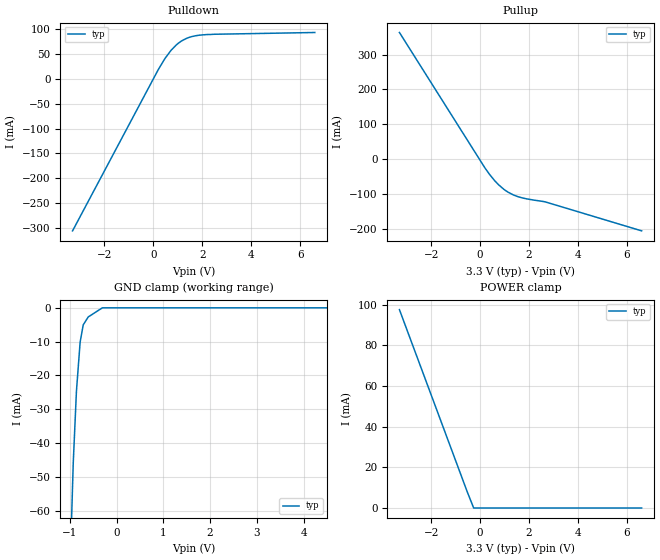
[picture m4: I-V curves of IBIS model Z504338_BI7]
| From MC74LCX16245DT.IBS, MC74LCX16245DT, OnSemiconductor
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| (C) COPYRIGHT 1993-2000
| MENTOR GRAPHICS CORPORATION
| ICX STANDARD LIBRARY, ICX PROJECT MODELING,
| ICX CUSTOM MODELING, ICX VENDOR MODEL
| ALL RIGHTS RESERVED.
| THE FOLLOWING ARE TRADEMARKS OR SERVICE MARKS OF
| MENTOR GRAPHICS CORPORATION:ICX (R), ICX STANDARD
| LIBRARY(R), ICX PROJECT MODELING(R), ICX CUSTOM
| MODELING(R), qualityIBIS(TM), MODELVIEWER(TM),
| AND MODELEDITOR(TM)
| ALL COPIES OF SOFTWARE, INCLUDING BUT NOT LIMITED TO
| ANY MODIFICATIONS, ENHANCEMENTS OR DERIVATIVE WORKS,
| MUST CONTAIN ALL MENTOR GRAPHICS CORPORATION'S
| NOTICES AND LEGENDS, INCLUDING THOSE EMBEDDED IN
| SOFTWARE AND THOSE AFFIXED TO SOFTWARE MEDIUM
| AND CONTAINER, AS RECEIVED FROM MENTOR GRAPHICS
| CORPORATION.
| Model Application Version 1.89 2/18/99.
[Model] Z504338_BI7
Model_type I/O
Vinl=800.0mV
Vinh=2.000V
Vref=0.000V
Rref=500.0ohms
Cref=50.00pF
Vmeas=1.500V
C_comp 8.000pF NA NA
| variable typ   min   max
[Voltage Range] 3.300V NA NA
[POWER Clamp Reference] 3.300V NA NA
[Pullup Reference] 3.300V NA NA
[Pulldown Reference] 0.000V NA NA
[GND Clamp Reference] 0.000V NA NA
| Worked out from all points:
|   slope of the pulldown table from 0 to 0.495 V, typ, clamps not added: 11.6 ohm
|   slope of the pullup table from 0 to 0.495 V, typ, clamps not added: 9.96 ohm
[GND Clamp]
-3.3V     -1.151A    NA         NA
-926.4mV  -45.98mA   NA         NA
-858.2mV  -24.72mA   NA         NA
-778.9mV  -10.16mA   NA         NA
-712.9mV  -5.047mA   NA         NA
-605.5mV  -2.699mA   NA         NA
-302.7mV  0A         NA         NA
6.6V      0A         NA         NA
[Pulldown]
-3.3V     -306.6mA   NA         NA
206mV     19.23mA    NA         NA
479.6mV   41.63mA    NA         NA
723.6mV   57.81mA    NA         NA
1.025V    72.31mA    NA         NA
1.357V    82.04mA    NA         NA
1.572V    85.68mA    NA         NA
2.168V    89.77mA    NA         NA
6.6V      93.92mA    NA         NA
[Pullup]
-3.3V     363mA      NA         NA
190mV     -24.07mA   NA         NA
590mV     -60.87mA   NA         NA
981mV     -86.53mA   NA         NA
1.366V    -102.2mA   NA         NA
1.542V    -106.8mA   NA         NA
2.646V    -121.5mA   NA         NA
6.6V      -204.7mA   NA         NA
[POWER Clamp]
-3.3V     97.51mA    NA         NA
-532mV    8.068mA    NA         NA
-266mV    0A         NA         NA
6.6V      0A         NA         NA
[Ramp]
| variable typ min max
dV/dt_r 1.961/245.4p NA NA
dV/dt_f 1.961/442.5p NA NA
R_load = 500.0Ohms
